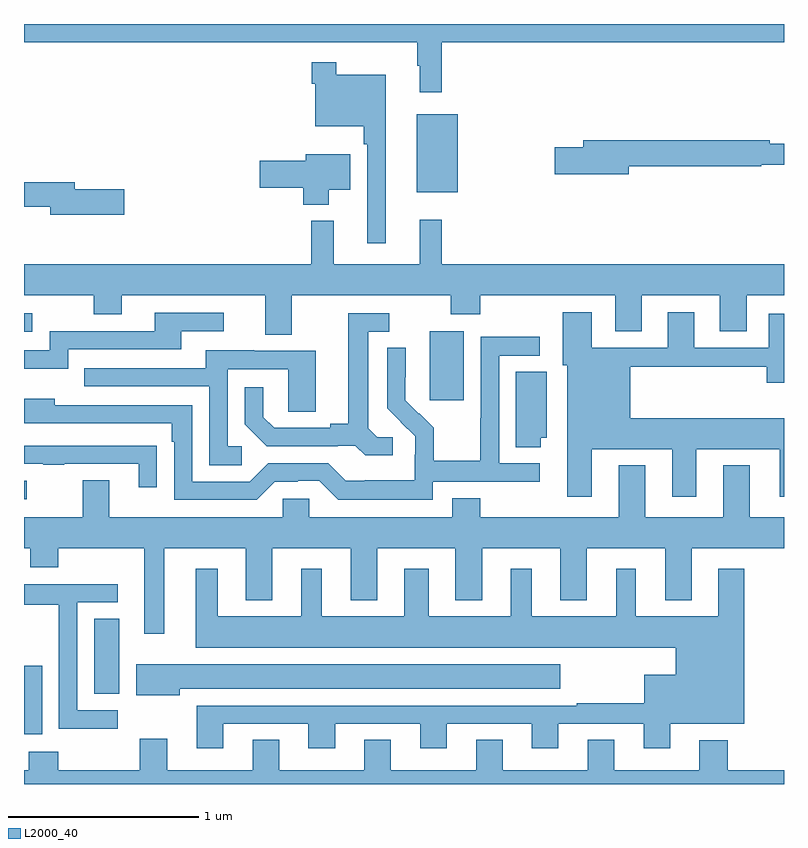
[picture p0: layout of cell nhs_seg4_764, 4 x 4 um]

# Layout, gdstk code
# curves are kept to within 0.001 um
import gdstk
lib = gdstk.Library(unit=1e-6, precision=1e-09)
def R(c, l, rs):  # rectangles x0, y0, x1, y1
    for r in rs: c.add(gdstk.rectangle(r[:2], r[2:], *l))
def P(c, l, *ps):  # polygons
    for p in ps: c.add(gdstk.Polygon(p, *l))
L2000_40 = (2000, 40)

nhs_seg4_764 = lib.new_cell('nhs_seg4_764')
R(nhs_seg4_764, L2000_40, [(149,809.162,149.095,809.523), (149.369,809.374,149.5,809.771), (149,810.399,149.014,810.495), (151.136,810.921,151.315,811.282), (149,811.281,149.044,811.377), (151.067,812.015,151.282,812.425)])
P(nhs_seg4_764, L2000_40, [(151.199,812.804),(153,812.804),(153,812.9),(149,812.9),(149,812.804),(151.071,812.804),(151.071,812.681),(151.082,812.681),(151.082,812.541),(151.199,812.541)],
  [(150.904,812.632),(150.643,812.632),(150.643,812.698),(150.514,812.698),(150.514,812.585),(150.534,812.585),(150.534,812.363),(150.787,812.363),(150.787,812.267),(150.807,812.267),(150.807,811.746),(150.904,811.746)],
  [(152.182,812.152),(152.88,812.152),(152.88,812.16),(153,812.16),(153,812.269),(152.924,812.269),(152.924,812.288),(151.943,812.288),(151.943,812.252),(151.794,812.252),(151.794,812.11),(152.182,812.11)],
  [(150.604,812.027),(150.718,812.027),(150.718,812.215),(150.482,812.215),(150.482,812.18),(150.24,812.18),(150.24,812.038),(150.47,812.038),(150.47,811.949),(150.604,811.949)],
  [(149.527,812.03),(149.266,812.03),(149.266,812.066),(149,812.066),(149,811.938),(149.138,811.938),(149.138,811.895),(149.527,811.895)],
  [(150.409,811.472),(151.246,811.472),(151.246,811.373),(151.401,811.373),(151.401,811.472),(152.111,811.472),(152.111,811.282),(152.251,811.282),(152.251,811.472),(152.663,811.472),(152.663,811.282),(152.803,811.282),(152.803,811.472),(153,811.472),(153,811.636),(151.199,811.636),(151.199,811.87),(151.082,811.87),(151.082,811.636),(150.629,811.636),(150.629,811.864),(150.511,811.864),(150.511,811.636),(149,811.636),(149,811.472),(149.368,811.472),(149.368,811.373),(149.515,811.373),(149.515,811.472),(150.269,811.472),(150.269,811.264),(150.409,811.264)],
  [(151.987,810.662),(152.411,810.662),(152.411,810.411),(152.539,810.411),(152.539,810.662),(152.978,810.662),(152.978,810.411),(153,810.411),(153,810.826),(152.191,810.826),(152.191,811.096),(152.909,811.096),(152.909,811.013),(153,811.013),(153,811.375),(152.921,811.375),(152.921,811.197),(152.527,811.197),(152.527,811.384),(152.387,811.384),(152.387,811.197),(151.987,811.197),(151.987,811.384),(151.835,811.384),(151.835,811.104),(151.859,811.104),(151.859,810.411),(151.987,810.411)],
  [(149.232,811.188),(149.827,811.188),(149.827,811.284),(150.052,811.284),(150.052,811.38),(149.687,811.38),(149.687,811.284),(149.136,811.284),(149.136,811.182),(149,811.182),(149,811.085),(149.232,811.085)],
  [(150.94,810.726),(150.858,810.726),(150.811,810.773),(150.811,811.281),(150.922,811.281),(150.922,811.377),(150.707,811.377),(150.707,810.797),(150.611,810.797),(150.611,810.774),(150.316,810.774),(150.259,810.831),(150.259,810.988),(150.162,810.988),(150.162,810.794),(150.278,810.678),(150.65,810.678),(150.65,810.681),(150.744,810.681),(150.796,810.629),(150.94,810.629)],
  [(151.152,810.492),(151.714,810.492),(151.714,810.588),(151.5,810.588),(151.5,811.155),(151.714,811.155),(151.714,811.254),(151.404,811.254),(151.404,810.824),(151.402,810.824),(151.402,810.601),(151.157,810.601),(151.157,810.775),(151.08,810.852),(151.077,810.849),(151.007,810.92),(151.008,811.196),(150.912,811.196),(150.912,810.878),(151.058,810.73),(151.058,810.633),(151.056,810.633),(151.056,810.499),(150.793,810.499),(150.793,810.495),(150.693,810.495),(150.6,810.588),(150.285,810.588),(150.189,810.492),(149.886,810.492),(149.886,810.894),(149.162,810.894),(149.162,810.928),(149.001,810.928),(149.001,810.798),(149.777,810.798),(149.777,810.701),(149.79,810.701),(149.79,810.396),(150.225,810.396),(150.321,810.492),(150.44,810.492),(150.44,810.495),(150.555,810.495),(150.655,810.395),(151.152,810.395)],
  [(150.145,810.678),(150.072,810.678),(150.072,811.083),(150.39,811.083),(150.39,810.859),(150.535,810.859),(150.535,811.179),(150.211,811.179),(150.211,811.183),(149.957,811.183),(149.957,811.089),(149.317,811.089),(149.317,810.993),(149.976,810.993),(149.976,810.577),(150.145,810.577)],
  [(151.72,810.722),(151.75,810.722),(151.75,811.07),(151.589,811.07),(151.589,810.673),(151.72,810.673)],
  [(149.699,810.68),(149.597,810.68),(149.597,810.681),(149,810.681),(149,810.585),(149.101,810.585),(149.101,810.58),(149.213,810.58),(149.213,810.585),(149.603,810.585),(149.603,810.462),(149.699,810.462)],
  [(150.719,809.867),(150.859,809.867),(150.859,810.14),(151.271,810.14),(151.271,809.867),(151.411,809.867),(151.411,810.14),(151.823,810.14),(151.823,809.867),(151.963,809.867),(151.963,810.14),(152.375,810.14),(152.375,809.867),(152.515,809.867),(152.515,810.14),(153,810.14),(153,810.304),(152.821,810.304),(152.821,810.577),(152.681,810.577),(152.681,810.304),(152.269,810.304),(152.269,810.577),(152.129,810.577),(152.129,810.304),(151.401,810.304),(151.401,810.403),(151.253,810.403),(151.253,810.304),(150.501,810.304),(150.501,810.402),(150.363,810.402),(150.363,810.304),(149.449,810.304),(149.449,810.499),(149.309,810.499),(149.309,810.304),(149,810.304),(149,810.14),(149.033,810.14),(149.033,810.041),(149.181,810.041),(149.181,810.14),(149.633,810.14),(149.633,809.691),(149.737,809.691),(149.737,810.14),(150.167,810.14),(150.167,809.867),(150.307,809.867),(150.307,810.14),(150.719,810.14)],
  [(150.049,809.217),(150.497,809.217),(150.497,809.088),(150.637,809.088),(150.637,809.217),(151.085,809.217),(151.085,809.088),(151.225,809.088),(151.225,809.217),(151.673,809.217),(151.673,809.088),(151.813,809.088),(151.813,809.217),(152.261,809.217),(152.261,809.088),(152.401,809.088),(152.401,809.216),(152.791,809.216),(152.791,810.034),(152.654,810.034),(152.654,809.782),(152.221,809.782),(152.221,810.034),(152.117,810.034),(152.117,809.782),(151.672,809.782),(151.672,810.034),(151.562,810.034),(151.562,809.782),(151.129,809.782),(151.129,810.034),(151.001,810.034),(151.001,809.782),(150.568,809.782),(150.568,810.034),(150.458,810.034),(150.458,809.782),(150.019,809.782),(150.019,810.034),(149.903,810.034),(149.903,809.618),(152.429,809.618),(152.429,809.476),(152.264,809.476),(152.264,809.326),(151.909,809.326),(151.909,809.313),(149.909,809.313),(149.909,809.088),(150.049,809.088)],
  [(149.494,809.289),(149.28,809.289),(149.28,809.856),(149.494,809.856),(149.494,809.952),(149,809.952),(149,809.844),(149.182,809.844),(149.182,809.62),(149.184,809.62),(149.184,809.191),(149.494,809.191)],
  [(149.821,809.402),(151.822,809.402),(151.822,809.53),(149.592,809.53),(149.592,809.366),(149.821,809.366)],
  [(153,808.972),(152.703,808.972),(152.703,809.131),(152.555,809.131),(152.555,808.972),(152.107,808.972),(152.107,809.132),(151.967,809.132),(151.967,808.972),(151.519,808.972),(151.519,809.132),(151.379,809.132),(151.379,808.972),(150.931,808.972),(150.931,809.132),(150.791,809.132),(150.791,808.972),(150.343,808.972),(150.343,809.132),(150.203,809.132),(150.203,808.972),(149.755,808.972),(149.755,809.137),(149.608,809.137),(149.608,808.972),(149.181,808.972),(149.181,809.071),(149.026,809.071),(149.026,808.972),(149,808.972),(149,808.9),(153,808.9)])

lib.write_gds('nhs_seg4_764.gds')
